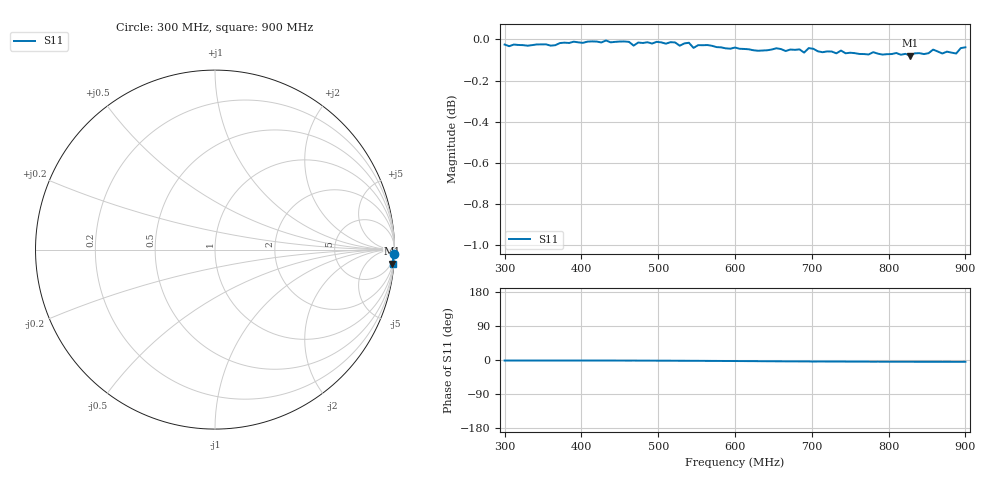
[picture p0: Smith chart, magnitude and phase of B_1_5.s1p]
# HZ S RI R 50
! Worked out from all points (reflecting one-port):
!   101 points, 300 MHz to 900 MHz, reference 50 ohm
!   lowest |S11| = -0.1 dB at 828 MHz (marker M1), VSWR 221.35, Z = 141 - j1.24e+03 ohm
!   phase of S11 starts at -1 deg and turns -3 deg over the sweep
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3e8  0.9968 -0.0254
3.6e8  0.9962 -0.0247
3.78e8  0.9979 -0.0236
4.5e8  0.9985 -0.026
4.68e8  0.9962 -0.0262
4.98e8  0.9982 -0.0304
5.22e8  0.9977 -0.0339
5.28e8  0.9959 -0.0347
5.4e8  0.9975 -0.0368
5.46e8  0.9945 -0.0377
5.64e8  0.9961 -0.0401
6e8  0.9944 -0.0472
6.78e8  0.9921 -0.064
6.9e8  0.9905 -0.0655
6.96e8  0.993 -0.066
7.02e8  0.9922 -0.0712
7.14e8  0.9905 -0.0686
7.5e8  0.9898 -0.074
7.62e8  0.9891 -0.0739
7.8e8  0.9899 -0.0773
7.86e8  0.9892 -0.0755
8.28e8  0.9879 -0.0787
8.4e8  0.989 -0.0813
8.58e8  0.991 -0.0816
8.7e8  0.9887 -0.0831
8.76e8  0.9899 -0.0809
8.88e8  0.9887 -0.0829
9e8  0.9922 -0.0827
